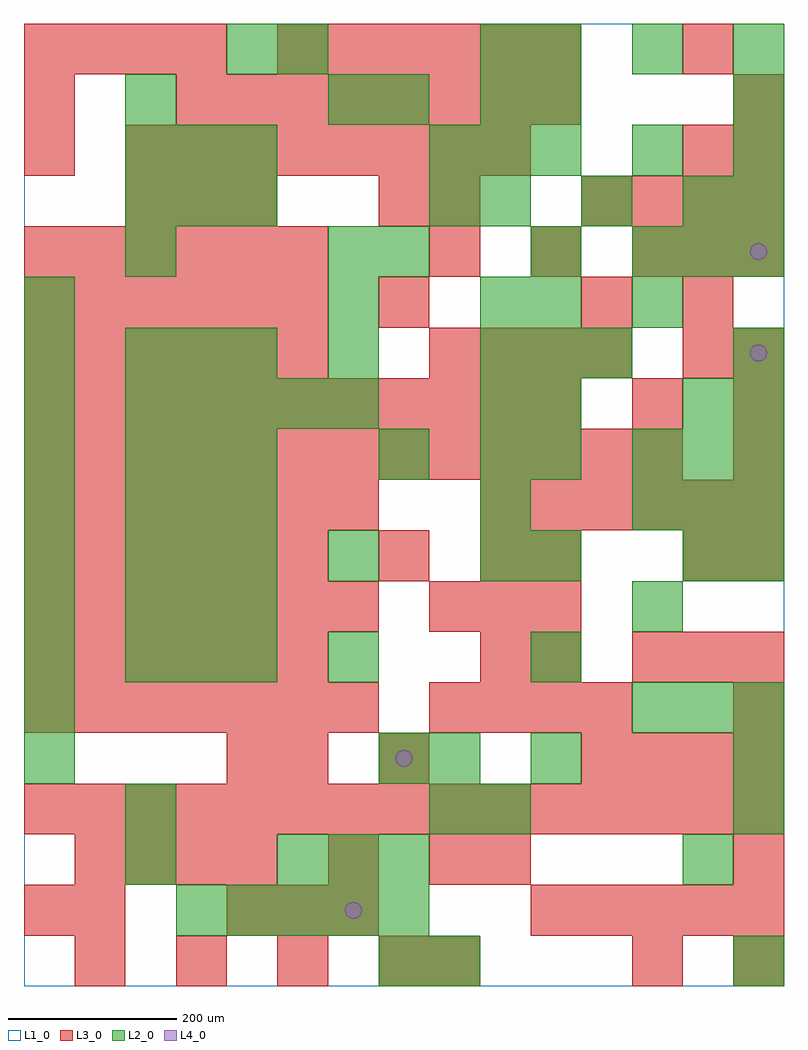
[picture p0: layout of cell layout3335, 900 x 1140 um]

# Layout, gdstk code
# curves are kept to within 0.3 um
import gdstk
lib = gdstk.Library(unit=1e-6, precision=1e-09)
def R(c, l, rs):  # rectangles x0, y0, x1, y1
    for r in rs: c.add(gdstk.rectangle(r[:2], r[2:], *l))
def A(c, l, x, y, w, h, nx, ny, dx, dy):  # array of equal rectangles
    R(c, l, [(x+i*dx, y+j*dy, x+i*dx+w, y+j*dy+h) for i in range(nx) for j in range(ny)])
def P(c, l, *ps):  # polygons
    for p in ps: c.add(gdstk.Polygon(p, *l))
L1_0 = (1, 0)
L2_0 = (2, 0)
L3_0 = (3, 0)
L4_0 = (4, 0)

layout3335 = lib.new_cell('layout3335')
R(layout3335, L1_0, [(0,0,900,1140)])
A(layout3335, L2_0, 180, 60, 60, 60, 5, 1, 60, 0)
A(layout3335, L2_0, 300, 120, 60, 60, 3, 1, 60, 0)
A(layout3335, L2_0, 0, 240, 60, 60, 1, 10, 0, 60)
A(layout3335, L2_0, 600, 240, 60, 60, 1, 4, 0, 120)
A(layout3335, L2_0, 720, 300, 60, 60, 3, 2, 60, 240)
A(layout3335, L2_0, 120, 360, 60, 60, 3, 5, 60, 60)
A(layout3335, L2_0, 540, 480, 60, 60, 1, 4, 0, 60)
A(layout3335, L2_0, 720, 600, 60, 60, 3, 2, 60, 240)
A(layout3335, L2_0, 120, 660, 60, 60, 5, 1, 60, 0)
A(layout3335, L2_0, 120, 720, 60, 60, 3, 2, 60, 180)
A(layout3335, L2_0, 360, 720, 60, 60, 1, 3, 0, 60)
A(layout3335, L2_0, 540, 720, 60, 60, 3, 1, 60, 0)
A(layout3335, L2_0, 540, 900, 60, 60, 3, 1, 120, 0)
A(layout3335, L2_0, 840, 900, 60, 60, 1, 3, 0, 60)
A(layout3335, L2_0, 120, 960, 60, 60, 3, 1, 60, 0)
A(layout3335, L2_0, 480, 960, 60, 60, 3, 1, 60, 0)
A(layout3335, L2_0, 600, 1080, 60, 60, 3, 1, 120, 0)
R(layout3335, L2_0, [(420,0,480,60), (480,0,540,60), (840,0,900,60), (120,120,180,180), (780,120,840,180), (120,180,180,240), (480,180,540,240), (540,180,600,240), (840,180,900,240), (420,240,480,300), (480,240,540,300), (840,240,900,300), (360,360,420,420), (720,420,780,480), (360,480,420,540), (780,480,840,540), (840,480,900,540), (420,600,480,660), (600,660,660,720), (780,660,840,720), (840,660,900,720), (840,720,900,780), (540,780,600,840), (600,780,660,840), (720,780,780,840), (120,840,180,900), (420,840,480,900), (600,840,660,900), (480,900,540,960), (720,960,780,1020), (120,1020,180,1080), (360,1020,420,1080), (420,1020,480,1080), (540,1020,600,1080), (600,1020,660,1080), (240,1080,300,1140), (300,1080,360,1140), (540,1080,600,1140)])
A(layout3335, L3_0, 60, 0, 60, 60, 4, 1, 120, 0)
A(layout3335, L3_0, 240, 60, 60, 60, 3, 1, 60, 0)
A(layout3335, L3_0, 600, 60, 60, 60, 5, 1, 60, 0)
A(layout3335, L3_0, 60, 120, 60, 60, 4, 1, 60, 0)
A(layout3335, L3_0, 840, 120, 60, 60, 1, 3, 0, 180)
A(layout3335, L3_0, 0, 180, 60, 60, 15, 1, 60, 0)
A(layout3335, L3_0, 660, 240, 60, 60, 4, 2, 60, 660)
A(layout3335, L3_0, 0, 300, 60, 60, 7, 3, 60, 120)
A(layout3335, L3_0, 480, 300, 60, 60, 4, 2, 60, 420)
A(layout3335, L3_0, 0, 360, 60, 60, 6, 2, 60, 120)
A(layout3335, L3_0, 720, 360, 60, 60, 3, 1, 60, 0)
A(layout3335, L3_0, 480, 420, 60, 60, 3, 1, 60, 0)
A(layout3335, L3_0, 540, 540, 60, 60, 6, 1, 60, 0)
A(layout3335, L3_0, 0, 600, 60, 60, 13, 1, 60, 0)
A(layout3335, L3_0, 840, 600, 60, 60, 1, 3, 0, 60)
A(layout3335, L3_0, 0, 660, 60, 60, 11, 1, 60, 0)
A(layout3335, L3_0, 0, 720, 60, 60, 6, 3, 60, 60)
A(layout3335, L3_0, 780, 720, 60, 60, 1, 3, 0, 60)
A(layout3335, L3_0, 480, 840, 60, 60, 3, 1, 120, 0)
A(layout3335, L3_0, 120, 900, 60, 60, 3, 1, 60, 0)
A(layout3335, L3_0, 120, 960, 60, 60, 8, 1, 60, 0)
A(layout3335, L3_0, 180, 1020, 60, 60, 8, 1, 60, 0)
A(layout3335, L3_0, 0, 1080, 60, 60, 4, 1, 60, 0)
A(layout3335, L3_0, 300, 1080, 60, 60, 6, 1, 60, 0)
R(layout3335, L3_0, [(480,0,540,60), (720,0,780,60), (840,0,900,60), (0,60,60,120), (60,60,120,120), (360,120,420,180), (480,120,540,180), (540,120,600,180), (240,240,300,300), (300,240,360,300), (420,240,480,300), (540,360,600,420), (600,360,660,420), (420,480,480,540), (540,480,600,540), (600,480,660,540), (780,480,840,540), (720,660,780,720), (420,780,480,840), (660,780,720,840), (840,840,900,900), (420,900,480,960), (480,900,540,960), (0,960,60,1020), (780,960,840,1020), (840,960,900,1020), (0,1020,60,1080), (840,1020,900,1080), (780,1080,840,1140)])
P(layout3335, L4_0, [(400,90),(399.239,93.827),(397.071,97.071),(393.827,99.239),(390,100),(386.173,99.239),(382.929,97.071),(380.761,93.827),(380,90),(380.761,86.173),(382.929,82.929),(386.173,80.761),(390,80),(393.827,80.761),(397.071,82.929),(399.239,86.173)],
  [(460,270),(459.239,273.827),(457.071,277.071),(453.827,279.239),(450,280),(446.173,279.239),(442.929,277.071),(440.761,273.827),(440,270),(440.761,266.173),(442.929,262.929),(446.173,260.761),(450,260),(453.827,260.761),(457.071,262.929),(459.239,266.173)],
  [(880,750),(879.239,753.827),(877.071,757.071),(873.827,759.239),(870,760),(866.173,759.239),(862.929,757.071),(860.761,753.827),(860,750),(860.761,746.173),(862.929,742.929),(866.173,740.761),(870,740),(873.827,740.761),(877.071,742.929),(879.239,746.173)],
  [(880,870),(879.239,873.827),(877.071,877.071),(873.827,879.239),(870,880),(866.173,879.239),(862.929,877.071),(860.761,873.827),(860,870),(860.761,866.173),(862.929,862.929),(866.173,860.761),(870,860),(873.827,860.761),(877.071,862.929),(879.239,866.173)])

lib.write_gds('layout3335.gds')
